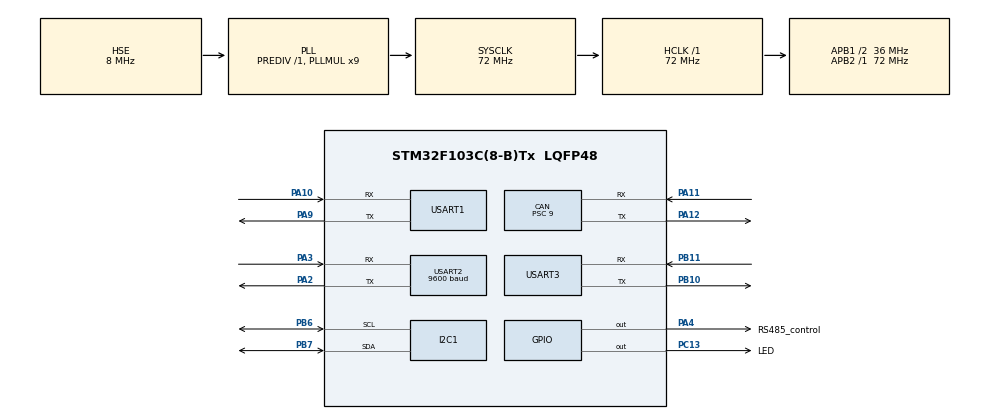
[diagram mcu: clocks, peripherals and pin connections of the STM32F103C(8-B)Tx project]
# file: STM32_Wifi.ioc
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CAN.ABOM=ENABLE
CAN.AWUM=ENABLE
CAN.BS1=CAN_BS1_5TQ
CAN.BS2=CAN_BS2_2TQ
CAN.CalculateBaudRate=500000
CAN.CalculateTimeBit=2000
CAN.CalculateTimeQuantum=250.0
CAN.Prescaler=9
Mcu.Family=STM32F1
Mcu.Name=STM32F103C(8-B)Tx
Mcu.Package=LQFP48
NVIC.PriorityGroup=NVIC_PRIORITYGROUP_4
NVIC.TIM1_UP_IRQn=true\:3\:0\:true\:false\:true\:true\:true
NVIC.USART1_IRQn=true\:0\:0\:true\:false\:true\:true\:true
NVIC.USART2_IRQn=true\:0\:0\:true\:false\:true\:true\:true
NVIC.USART3_IRQn=true\:3\:0\:true\:false\:true\:true\:true
NVIC.USB_LP_CAN1_RX0_IRQn=true\:0\:0\:false\:false\:true\:true\:true
PA10.Mode=Asynchronous
PA10.Signal=USART1_RX
PA11.Mode=CAN_Activate
PA11.Signal=CAN_RX
PA12.Mode=CAN_Activate
PA12.Signal=CAN_TX
PA13.Mode=Serial_Wire
PA13.Signal=SYS_JTMS-SWDIO
PA14.Mode=Serial_Wire
PA14.Signal=SYS_JTCK-SWCLK
PA2.Mode=Asynchronous
PA2.Signal=USART2_TX
PA3.Mode=Asynchronous
PA3.Signal=USART2_RX
PA4.GPIO_Label=RS485_control
PA4.Signal=GPIO_Output
PA9.Mode=Asynchronous
PA9.Signal=USART1_TX
PB10.Mode=Asynchronous
PB10.Signal=USART3_TX
PB11.Mode=Asynchronous
PB11.Signal=USART3_RX
PB6.Mode=I2C
PB6.Signal=I2C1_SCL
PB7.Mode=I2C
PB7.Signal=I2C1_SDA
PC13-TAMPER-RTC.GPIO_Label=LED
PC13-TAMPER-RTC.Signal=GPIO_Output
PC14-OSC32_IN.Mode=LSE-External-Oscillator
PC14-OSC32_IN.Signal=RCC_OSC32_IN
PC15-OSC32_OUT.Mode=LSE-External-Oscillator
PC15-OSC32_OUT.Signal=RCC_OSC32_OUT
PD0-OSC_IN.Mode=HSE-External-Oscillator
PD0-OSC_IN.Signal=RCC_OSC_IN
PD1-OSC_OUT.Mode=HSE-External-Oscillator
PD1-OSC_OUT.Signal=RCC_OSC_OUT
ProjectManager.HeapSize=0x200
ProjectManager.StackSize=0x400
ProjectManager.TargetToolchain=MDK-ARM V5.32
RCC.AHBFreq_Value=72000000
RCC.APB1CLKDivider=RCC_HCLK_DIV2
RCC.APB1Freq_Value=36000000
RCC.APB1TimFreq_Value=72000000
RCC.APB2Freq_Value=72000000
RCC.APB2TimFreq_Value=72000000
RCC.HCLKFreq_Value=72000000
RCC.PLLMUL=RCC_PLL_MUL9
RCC.PLLSourceVirtual=RCC_PLLSOURCE_HSE
RCC.SYSCLKFreq_VALUE=72000000
RCC.SYSCLKSource=RCC_SYSCLKSOURCE_PLLCLK
RCC.USBFreq_Value=72000000
TIM1.AutoReloadPreload=TIM_AUTORELOAD_PRELOAD_ENABLE
TIM1.Period=999
TIM1.Prescaler=71
USART1.VirtualMode=VM_ASYNC
USART2.BaudRate=9600
USART2.VirtualMode=VM_ASYNC
USART3.VirtualMode=VM_ASYNC
VP_TIM1_VS_ClockSourceINT.Mode=Internal
board=custom

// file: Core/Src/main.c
/* USER CODE BEGIN Header */
/**
  ******************************************************************************
  * @file           : main.c
  * @brief          : Main program body
  ******************************************************************************
  * @attention
  *
  * Copyright (c) 2024 STMicroelectronics.
  * All rights reserved.
  *
  * This software is licensed under terms that can be found in the LICENSE file
  * in the root directory of this software component.
  * If no LICENSE file comes with this software, it is provided AS-IS.
  *
  ******************************************************************************
  */
/* USER CODE END Header */
#include "main.h"
#include "can.h"
#include "i2c.h"
#include "tim.h"
#include "usart.h"
#include "gpio.h"

/* USER CODE BEGIN Includes */
#include "esp8266.h"
#include "oled.h"
#include "modbus.h"
#include "cJSON.h"
/* USER CODE END Includes */

/* USER CODE BEGIN PTD */

/**
  * 函数功能: 使用单字节数据发送前要使能发送引脚，发送后要使能接收引脚
  * 输入参数: 无
  * 返 回 值: 无
  * 说    明：无
  */
void Modbus_Send_Byte(  uint8_t ch )
{
	/* 发送一个字节数据到USART2 */
    HAL_UART_Transmit(&huart2, (uint8_t *)&ch, 1, 0xff);
}

void Send_Sensor_Data()
{

	Host_Read03_slave(0x01,0x0000,0x0001);//参数1从机地址，参数2起始地址，参数3寄存器个数
					if(modbus.Host_send_flag)
					{
						HOST_ModbusRX();//接收数据进行处理

						modbus.Host_time_flag=0;//发送数据标志位清零
						modbus.Host_send_flag=0;//清空发送结束数据标志位
					}

					Host_Read03_slave(0x02,0x0000,0x0001);
					if(modbus.Host_send_flag)
					{
						HOST_ModbusRX();

						modbus.Host_time_flag=0;
						modbus.Host_send_flag=0;
					}

					Host_Read03_slave(0x03,0x0000,0x0001);
					if(modbus.Host_send_flag)
					{
						HOST_ModbusRX();

						modbus.Host_time_flag=0;
						modbus.Host_send_flag=0;
					}

					Host_Read03_slave(0x04,0x0000,0x0002);
					if(modbus.Host_send_flag)
					{
						HOST_ModbusRX();

						modbus.Host_time_flag=0;
						modbus.Host_send_flag=0;
					}

					Host_Read03_slave(0x05,0x0006,0x0001);
					if(modbus.Host_send_flag)
					{
						HOST_ModbusRX();

						modbus.Host_time_flag=0;
						modbus.Host_send_flag=0;
					}

					modbus.Host_Sendtime=0;//发送完毕后计数清零（距离上次的时间）
}

/* USER CODE END PTD */

/* USER CODE BEGIN PD */
#define RXBUFFERSIZE  4096     //最大接收字节数

//串口1配置-RS232缓存区
int8_t RxBuffer1[RXBUFFERSIZE];
uint8_t Uart1_Rx_Cnt = 0;
uint8_t aRxBuffer1;

//串口3配置-ESP8266缓存区
int8_t RxBuffer3[RXBUFFERSIZE];   //接收数据
uint8_t Uart3_Rx_Cnt = 0;
uint8_t aRxBuffer3;

uint8_t RES;	//串口2-RS485缓存区

//串口3配置
//串口发送缓存区
__align(8) uint8_t USART3_TX_BUF[USART3_MAX_SEND_LEN]; 	//发送缓冲,最大USART2_MAX_SEND_LEN字节
//串口接收缓存区
uint8_t USART3_RX_BUF[USART3_MAX_RECV_LEN]; 				//接收缓冲,最大USART2_MAX_RECV_LEN个字节.

uint16_t USART3_RX_STA = 0;

/* USER CODE END PD */

void SystemClock_Config(void);
/* USER CODE BEGIN PFP */

uint16_t Wind,Water;			//控制器状态
uint16_t AliyunState = 0;	//云平台接收状态

/*
		0 - 风向传感器		1 - 风速传感器		2 - 空气质量传感器
		3 - 湿度传感器		4 - 温度传感器		5 - 光照传感器
*/
int sensor_data[SENSOR_NUM]={0};		//传感器状态缓存

/* USER CODE END PFP */

int main(void)
{

  /* MCU Configuration--------------------------------------------------------*/

  /* Reset of all peripherals, Initializes the Flash interface and the Systick. */
  HAL_Init();

  /* Configure the system clock */
  SystemClock_Config();

  /* Initialize all configured peripherals */
  MX_GPIO_Init();
  MX_USART1_UART_Init();
  MX_USART2_UART_Init();
  MX_USART3_UART_Init();
  MX_I2C1_Init();
  MX_TIM1_Init();
  MX_CAN_Init();
  /* USER CODE BEGIN 2 */
	//串口开启接收中断
  HAL_UART_Receive_IT(&huart1, &aRxBuffer1, 1);
	HAL_UART_Receive_IT(&huart2, (uint8_t *)&RES, 1);
	HAL_UART_Receive_IT(&huart3, &aRxBuffer1, 1);
	HAL_TIM_Base_Start_IT(&htim1);

	//ESP8266_Init();			//ESP8266初始化

	RS485_RX_ENABLE;			//使能485控制端(启动发送)
	Modbus_Init();

	OLED_Init();                          //OLED初始化
  OLED_Clear();                         //先清屏
	HAL_Delay(1000);
	OLED_ShowCHinese(25,1,0);  						//在屏幕上方显示“此乃刘同学”
	OLED_ShowCHinese(41,1,1);
	OLED_ShowCHinese(57,1,2);
	OLED_ShowCHinese(73,1,3);
	OLED_ShowCHinese(89,1,4);

  /* USER CODE END 2 */

  /* Infinite loop */
  /* USER CODE BEGIN WHILE */
  while (1)
  {
			//每s执行操作		最大为60S

			if(modbus.Host_time_flag)//每1s发送一次数据
			{
				printf("hello\r\n");
					//Send_Sensor_Data();
			}

  }
    /* USER CODE END WHILE */

}

void SystemClock_Config(void)
{
  RCC_OscInitTypeDef RCC_OscInitStruct = {0};
  RCC_ClkInitTypeDef RCC_ClkInitStruct = {0};

  /** Initializes the RCC Oscillators according to the specified parameters
  * in the RCC_OscInitTypeDef structure.
  */
  RCC_OscInitStruct.OscillatorType = RCC_OSCILLATORTYPE_HSE;
  RCC_OscInitStruct.HSEState = RCC_HSE_ON;
  RCC_OscInitStruct.HSEPredivValue = RCC_HSE_PREDIV_DIV1;
  RCC_OscInitStruct.HSIState = RCC_HSI_ON;
  RCC_OscInitStruct.PLL.PLLState = RCC_PLL_ON;
  RCC_OscInitStruct.PLL.PLLSource = RCC_PLLSOURCE_HSE;
  RCC_OscInitStruct.PLL.PLLMUL = RCC_PLL_MUL9;
  if (HAL_RCC_OscConfig(&RCC_OscInitStruct) != HAL_OK)
  {
    Error_Handler();
  }
  /** Initializes the CPU, AHB and APB buses clocks
  */
  RCC_ClkInitStruct.ClockType = RCC_CLOCKTYPE_HCLK|RCC_CLOCKTYPE_SYSCLK
                              |RCC_CLOCKTYPE_PCLK1|RCC_CLOCKTYPE_PCLK2;
  RCC_ClkInitStruct.SYSCLKSource = RCC_SYSCLKSOURCE_PLLCLK;
  RCC_ClkInitStruct.AHBCLKDivider = RCC_SYSCLK_DIV1;
  RCC_ClkInitStruct.APB1CLKDivider = RCC_HCLK_DIV2;
  RCC_ClkInitStruct.APB2CLKDivider = RCC_HCLK_DIV1;

  if (HAL_RCC_ClockConfig(&RCC_ClkInitStruct, FLASH_LATENCY_2) != HAL_OK)
  {
    Error_Handler();
  }
}

/* USER CODE BEGIN 4 */

void HAL_UART_RxCpltCallback(UART_HandleTypeDef *huart)
{

    if (huart->Instance == USART1)
    {
        if (Uart1_Rx_Cnt > RXBUFFERSIZE - 2)  // Overflow check
        {
            Uart1_Rx_Cnt = 0;
            memset(RxBuffer1, 0x00, sizeof(RxBuffer1));
        }
        else
        {
            RxBuffer1[Uart1_Rx_Cnt++] = aRxBuffer1;   // Store received data

             // 检查是否接收到结束符（例如换行符和回车符）
            if ((Uart1_Rx_Cnt > 1) && (RxBuffer1[Uart1_Rx_Cnt - 1] == 0x0A) && (RxBuffer1[Uart1_Rx_Cnt - 2] == 0x0D)) // End of data check
            {
                // 输出接收到的完整数据
                //HAL_UART_Transmit(&huart1, (uint8_t *)RxBuffer1, Uart1_Rx_Cnt, HAL_MAX_DELAY);
                Uart1_Rx_Cnt = 0;
                memset(RxBuffer1, 0x00, sizeof(RxBuffer1)); // Clear buffer
            }
        }
        HAL_UART_Receive_IT(&huart1, &aRxBuffer1, 1);
    }
    else if (huart->Instance == USART2)
    {
        if( modbus.reflag==1)  //有数据包正在处理
				{
						HAL_UART_Receive_IT(&huart2, (uint8_t *)&RES,1);
					 return ;
				}

				modbus.rcbuf[modbus.recount++] = RES;
				modbus.timout = 0;
				if(modbus.recount == 1)  //已经收到了第二个字符数据
				{
					modbus.timrun = 1;  //开启modbus定时器计时
				}
				HAL_UART_Receive_IT(&huart2, (uint8_t *)&RES,1);
    }
		else  if (huart->Instance == USART3)
    {
        if (Uart3_Rx_Cnt < RXBUFFERSIZE - 1)
        {
            RxBuffer3[Uart3_Rx_Cnt++] = aRxBuffer3;

            // Check for end of message (newline character)
            if (RxBuffer3[Uart3_Rx_Cnt - 1] == 0x0A)
            {
								AliyunState = 1;	//设置云平台接收状态为1，485发送信息
								const char *start;

								// 提取 Wind 值
								start = strstr((const char *)RxBuffer3, "\"Wind\":"); // 转换为 const char *
								if (start) {
										start = strstr(start, "\"value\":");
										if (start) {
												start += strlen("\"value\":");
												Wind = strtol(start, (char **)&start, 10);
												if(Wind == 1){
													Host_write06_slave(0x1F,0x05,0x0001,0xFF00);	//参数1从机地址，参数2功能码，参数3寄存器位，参数4FF00开0000关
												}else{
													Host_write06_slave(0x1F,0x05,0x0001,0x0000);
												}
										}
								}

								// 提取 Water 值
								start = strstr((const char *)RxBuffer3, "\"Water\":");
								if (start) {
										start = strstr(start, "\"value\":");
										if (start) {
												start += strlen("\"value\":");
												Water = strtol(start, (char **)&start, 10);
												if(Water == 1){
													Host_write06_slave(0x1F,0x05,0x0002,0xFF00);
												}else{
													Host_write06_slave(0x1F,0x05,0x0002,0x0000);
												}
										}
								}

                // Reset the buffer after processing
                Uart3_Rx_Cnt = 0;
                memset(RxBuffer3, 0x00, sizeof(RxBuffer3));
            }
        }
        HAL_UART_Receive_IT(&huart3, &aRxBuffer3, 1);  // Re-enable interrupt for next byte
    }

}

void HAL_TIM_PeriodElapsedCallback(TIM_HandleTypeDef *htim){
 	if (htim->Instance == htim1.Instance)
 	{
 		if(modbus.timrun != 0)//运行时间！=0表明
 		{
 		  modbus.timout++;
 		  if(modbus.timout >=100)
 		  {
				 modbus.timrun = 0;
				 modbus.reflag = 1;//接收数据完毕
 		  }
 		}
 		modbus.Host_Sendtime++;//发送完上一帧后的时间计数
		if(modbus.Host_Sendtime>1000)//距离发送上一帧数据1s了
		{
			//1s时间到
			modbus.Host_time_flag=1;//发送数据标志位置1

		}

 	}
}

/* USER CODE END 4 */

void Error_Handler(void)
{
  __disable_irq();
  while (1)
  {
  }
}
